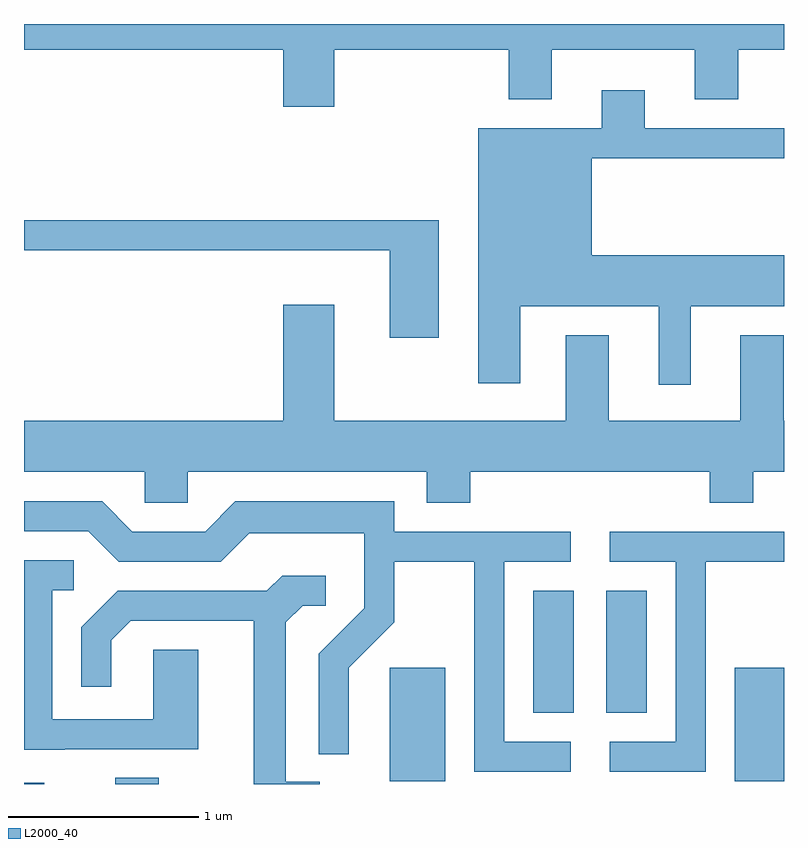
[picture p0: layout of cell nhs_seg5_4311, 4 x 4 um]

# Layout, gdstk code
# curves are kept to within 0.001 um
import gdstk
lib = gdstk.Library(unit=1e-6, precision=1e-09)
def R(c, l, rs):  # rectangles x0, y0, x1, y1
    for r in rs: c.add(gdstk.rectangle(r[:2], r[2:], *l))
def P(c, l, *ps):  # polygons
    for p in ps: c.add(gdstk.Polygon(p, *l))
L2000_40 = (2000, 40)

nhs_seg5_4311 = lib.new_cell('nhs_seg5_4311')
R(nhs_seg5_4311, L2000_40, [(313.611,1424.072,313.718,1424.079), (314.091,1424.072,314.319,1424.104), (315.536,1424.086,315.829,1424.684), (317.351,1424.086,317.611,1424.684), (316.291,1424.446,316.504,1425.089), (316.676,1424.446,316.889,1425.089)])
P(nhs_seg5_4311, L2000_40, [(315.244,1427.936),(316.161,1427.936),(316.161,1427.676),(316.389,1427.676),(316.389,1427.936),(317.141,1427.936),(317.141,1427.676),(317.369,1427.676),(317.369,1427.936),(317.611,1427.936),(317.611,1428.072),(313.611,1428.072),(313.611,1427.936),(314.976,1427.936),(314.976,1427.636),(315.244,1427.636)],
  [(317.119,1426.586),(317.611,1426.586),(317.611,1426.854),(316.599,1426.854),(316.599,1427.366),(317.611,1427.366),(317.611,1427.524),(316.879,1427.524),(316.879,1427.724),(316.651,1427.724),(316.651,1427.524),(316.001,1427.524),(316.001,1426.181),(316.224,1426.181),(316.224,1426.586),(316.951,1426.586),(316.951,1426.173),(317.119,1426.173)],
  [(315.794,1427.039),(313.611,1427.039),(313.611,1426.881),(315.536,1426.881),(315.536,1426.421),(315.794,1426.421)],
  [(314.474,1425.716),(315.731,1425.716),(315.731,1425.551),(315.959,1425.551),(315.959,1425.716),(317.221,1425.716),(317.221,1425.551),(317.449,1425.551),(317.449,1425.716),(317.611,1425.716),(317.611,1425.984),(317.609,1425.984),(317.609,1426.434),(317.381,1426.434),(317.381,1425.984),(316.689,1425.984),(316.689,1426.434),(316.461,1426.434),(316.461,1425.984),(315.244,1425.984),(315.244,1426.594),(314.976,1426.594),(314.976,1425.984),(313.611,1425.984),(313.611,1425.716),(314.246,1425.716),(314.246,1425.551),(314.474,1425.551)],
  [(316.488,1424.294),(316.139,1424.294),(316.139,1425.241),(316.488,1425.241),(316.488,1425.399),(315.559,1425.399),(315.559,1425.559),(314.724,1425.559),(314.564,1425.399),(314.182,1425.399),(314.022,1425.559),(313.611,1425.559),(313.611,1425.401),(313.949,1425.401),(314.109,1425.241),(314.647,1425.241),(314.797,1425.391),(315.401,1425.391),(315.401,1424.997),(315.161,1424.757),(315.161,1424.228),(315.319,1424.228),(315.319,1424.684),(315.559,1424.924),(315.559,1425.241),(315.981,1425.241),(315.981,1424.136),(316.488,1424.136)],
  [(317.199,1425.241),(317.611,1425.241),(317.611,1425.399),(316.693,1425.399),(316.693,1425.241),(317.041,1425.241),(317.041,1424.294),(316.693,1424.294),(316.693,1424.136),(317.199,1424.136)],
  [(313.825,1424.256),(314.529,1424.256),(314.529,1424.779),(314.291,1424.779),(314.291,1424.414),(313.759,1424.414),(313.759,1425.091),(313.873,1425.091),(313.873,1425.249),(313.611,1425.249),(313.611,1424.251),(313.825,1424.251)],
  [(315.168,1424.084),(314.989,1424.084),(314.989,1424.924),(315.077,1425.011),(315.198,1425.011),(315.198,1425.169),(314.969,1425.169),(314.889,1425.089),(314.104,1425.089),(313.911,1424.897),(313.911,1424.583),(314.069,1424.583),(314.069,1424.829),(314.172,1424.931),(314.821,1424.931),(314.821,1424.072),(315.168,1424.072)])

lib.write_gds('nhs_seg5_4311.gds')
